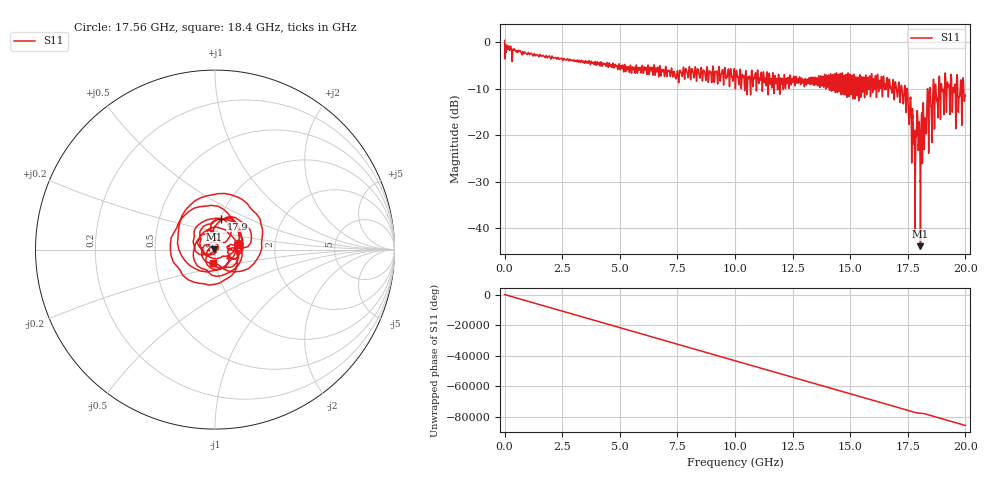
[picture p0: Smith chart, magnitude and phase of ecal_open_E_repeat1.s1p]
! MS46122B
! 2250307/22442219
! 7/27/2025 9:22:51 AM
! C:\USERS\SPARKY\DOCUMENTS\VNA_DATA\JULY27_2025\3K\ECAL_OPEN_E_REPEAT1.S1P
! CHANNEL.1
! TR.MEASUREMENT
! RAW.DATA
# GHZ S RI R 50.0
! FREQ.GHZ  S11RE  S11IM
!; PortSelection: Port_1
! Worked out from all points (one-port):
!   10001 points, 1 MHz to 20 GHz, reference 50 ohm
!   lowest |S11| = -43.8 dB at 18.05 GHz (marker M1), VSWR 1.01, Z = 49.4 + j0.121 ohm
!   |S11| at or under -10 dB: 17.48 GHz to 18.35 GHz (867.4 MHz wide, 4.84 % of centre); 18.46 GHz to 18.59 GHz (125.7 MHz wide, 0.679 % of centre); 18.72 GHz to 18.84 GHz (119 MHz wide, 0.633 % of centre) (the widest 3 of 63)
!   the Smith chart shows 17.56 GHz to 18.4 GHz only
!   S11 on the Smith chart (normalised r, x): 17.56 GHz: 1.29, +0.08; 17.9 GHz: 1.01, +0.36; 18.4 GHz: 0.97, -0.14
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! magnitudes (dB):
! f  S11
! 1 MHz  0.4
! 2.501 GHz  -3.6
! 5.001 GHz  -5.8
! 7.501 GHz  -6.1
! 10 GHz  -8.1
! 10.6 GHz  -7.8
! 10.8 GHz  -7.8
! 12.5 GHz  -8.3
! 15 GHz  -7.1
! 16.78 GHz  -9.8
! 17.42 GHz  -14.9
! 17.5 GHz  -11.2
! 17.56 GHz  -17.6
! 17.69 GHz  -16.9
! 17.75 GHz  -21.0
! 17.9 GHz  -15.1
! 17.93 GHz  -16.8
! 18.05 GHz  -43.8
! 18.4 GHz  -22.6
! 18.48 GHz  -11.4
! 18.68 GHz  -12.6
! 18.74 GHz  -11.8
! 19.19 GHz  -11.3
! 19.25 GHz  -9.6
! 19.46 GHz  -10.6
! 19.51 GHz  -10.7
! 19.56 GHz  -11.3
! 20 GHz  -11.5
